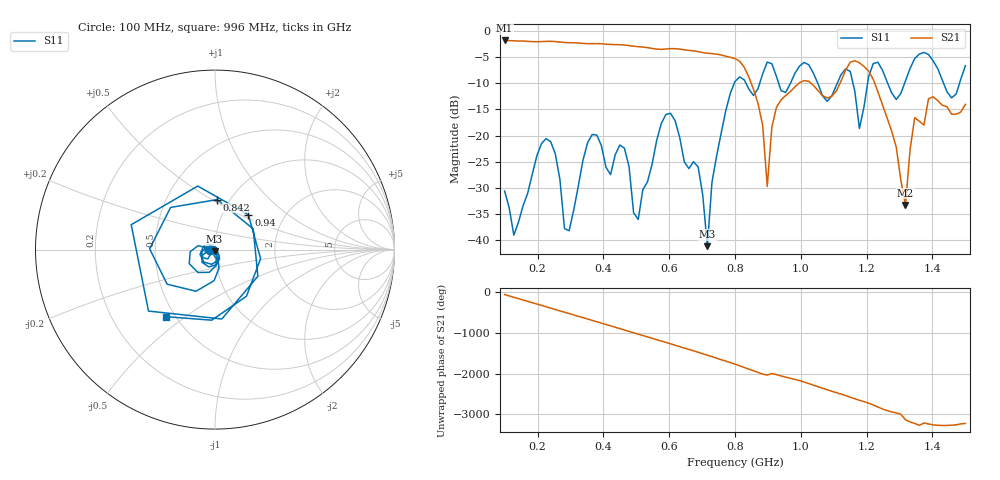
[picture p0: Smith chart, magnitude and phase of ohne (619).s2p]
! NanoVNA-App
! Date: 2025-09-25 14:25:37
! Start: 100MHz Stop: 1,5GHz Points: 101
! S-Parameter data: F S11 S21 S12 S22
# Hz S RI R 50
!  Frequency  S11_Real  S11_Imag  S21_Real  S21_Imag  S12_Real  S12_Imag  S22_Real  S22_Imag
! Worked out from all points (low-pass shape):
!   101 points, 100 MHz to 1.5 GHz, reference 50 ohm
!   highest |S21| = -1.79 dB at 100 MHz (marker M1); lowest = -33.3 dB at 1.318 GHz (marker M2)
!   |S21| within 3 dB of the highest: start of sweep to 771 MHz
!   lowest |S11| = -41.2 dB at 716 MHz (marker M3), VSWR 1.02, Z = 49.8 - j0.835 ohm
!   |S11| at or under -10 dB: start of sweep to 797.8 MHz; 833.3 MHz to 875.1 MHz (41.78 MHz wide, 4.89 % of centre); 1.052 GHz to 1.111 GHz (58.92 MHz wide, 5.45 % of centre) (the widest 3 of 7)
!   S12 and S22 are empty: the file has one direction only
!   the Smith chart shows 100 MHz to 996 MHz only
!   S11 on the Smith chart (normalised r, x): 100 MHz: 0.94, -0.01; 842 MHz: 0.88, +0.53; 940 MHz: 1.32, +0.56; 996 MHz: 0.45, -0.42
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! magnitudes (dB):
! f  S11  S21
! 100 MHz  -30.6  -1.8
! 128 MHz  -39.1  -1.9
! 226 MHz  -20.6  -2.0
! 296 MHz  -38.2  -2.2
! 338 MHz  -24.8  -2.4
! 464 MHz  -22.4  -2.7
! 506 MHz  -36.1  -3.0
! 576 MHz  -17.7  -3.5
! 688 MHz  -26.0  -3.9
! 716 MHz  -41.2  -4.2
! 800 MHz  -9.7  -5.3
! 842 MHz  -11.1  -8.8
! 898 MHz  -5.9  -29.7
! 940 MHz  -11.4  -13.2
! 996 MHz  -6.7  -9.9
! 1.038 GHz  -8.0  -10.4
! 1.178 GHz  -18.6  -6.1
! 1.22 GHz  -6.2  -9.2
! 1.276 GHz  -11.8  -19.2
! 1.318 GHz  -9.5  -33.3
! 1.346 GHz  -5.3  -16.6
! 1.5 GHz  -6.6  -14.0
